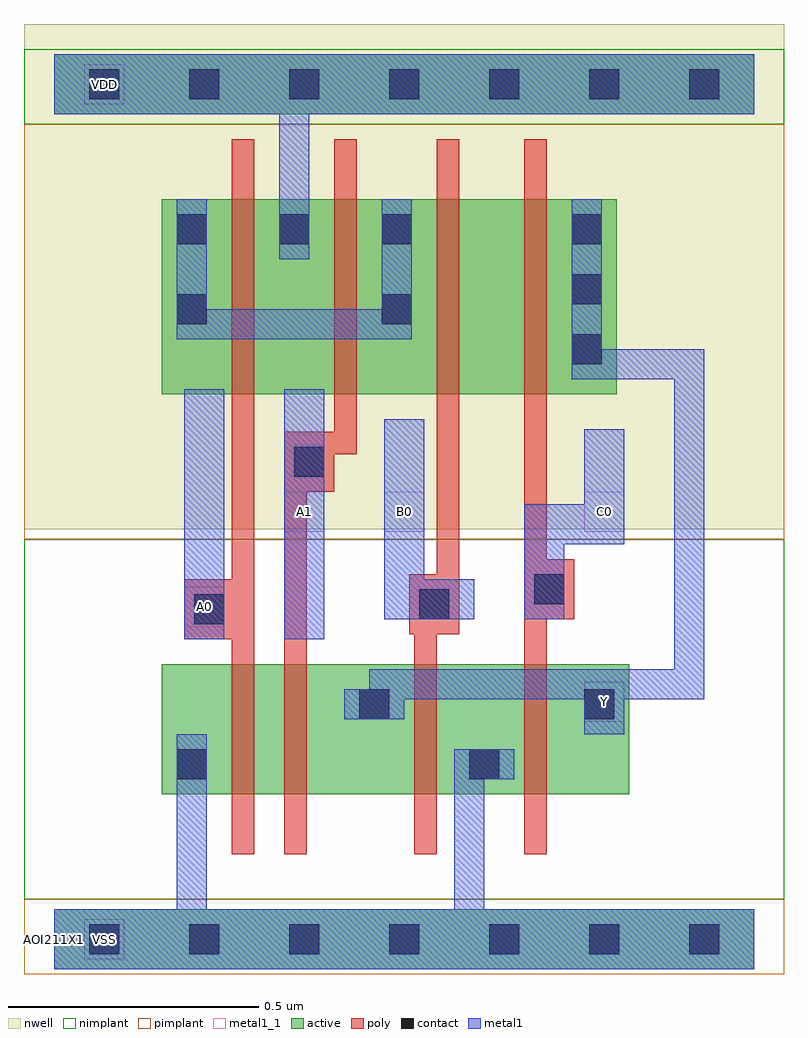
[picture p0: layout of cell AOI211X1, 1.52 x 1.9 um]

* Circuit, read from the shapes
.subckt AOI211X1 A0 A1 B0 C0 VDD VSS Y
M1 n1 A0 VSS VSS nfet w=0.26u l=0.045u
M2 Y A1 n1 VSS nfet w=0.26u l=0.045u
M3 VSS B0 Y VSS nfet w=0.26u l=0.045u
M4 Y C0 VSS VSS nfet w=0.26u l=0.045u
M5 VDD A0 n2 VDD pfet w=0.39u l=0.045u
M6 n2 A1 VDD VDD pfet w=0.39u l=0.045u
M7 n3 B0 n2 VDD pfet w=0.39u l=0.045u
M8 Y C0 n3 VDD pfet w=0.39u l=0.045u
.ends

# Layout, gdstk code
import gdstk
lib = gdstk.Library(unit=1e-6, precision=5e-10)
def R(c, l, rs):  # rectangles x0, y0, x1, y1
    for r in rs: c.add(gdstk.rectangle(r[:2], r[2:], *l))
def A(c, l, x, y, w, h, nx, ny, dx, dy):  # array of equal rectangles
    R(c, l, [(x+i*dx, y+j*dy, x+i*dx+w, y+j*dy+h) for i in range(nx) for j in range(ny)])
def P(c, l, *ps):  # polygons
    for p in ps: c.add(gdstk.Polygon(p, *l))
active = (1, 0)
nwell = (2, 0)
poly = (3, 0)
nimplant = (4, 0)
pimplant = (5, 0)
contact = (6, 0)
metal1 = (7, 0)
metal1_1 = (7, 1)

aoi211x1 = lib.new_cell('AOI211X1')
R(aoi211x1, active, [(0,-0.06,1.4,0.06), (0.215,0.29,1.15,0.55), (0.215,1.09,1.125,1.48), (0,1.65,1.4,1.77)])
R(aoi211x1, nwell, [(-0.06,0.82,1.46,1.83)])
P(aoi211x1, poly, [(0.355,1.6),(0.4,1.6),(0.4,0.17),(0.355,0.17),(0.355,0.6),(0.26,0.6),(0.26,0.72),(0.355,0.72)],
  [(0.56,1.6),(0.605,1.6),(0.605,0.97),(0.56,0.97),(0.56,0.895),(0.505,0.895),(0.505,0.17),(0.46,0.17),(0.46,1.015),(0.56,1.015)],
  [(0.765,1.6),(0.81,1.6),(0.81,0.61),(0.765,0.61),(0.765,0.17),(0.72,0.17),(0.72,0.61),(0.71,0.61),(0.71,0.73),(0.765,0.73)],
  [(0.94,1.6),(0.985,1.6),(0.985,0.76),(1.04,0.76),(1.04,0.64),(0.985,0.64),(0.985,0.17),(0.94,0.17)])
R(aoi211x1, nimplant, [(-0.06,0.08,1.46,0.8), (-0.06,1.63,1.46,1.78)])
R(aoi211x1, pimplant, [(-0.06,-0.07,1.46,0.08), (-0.06,0.8,1.46,1.63)])
A(aoi211x1, contact, 0.07, -0.03, 0.06, 0.06, 7, 2, 0.2, 1.71)
A(aoi211x1, contact, 1.035, 1.15, 0.06, 0.06, 1, 3, 0, 0.12)
A(aoi211x1, contact, 0.245, 1.39, 0.06, 0.06, 3, 1, 0.205, 0)
R(aoi211x1, contact, [(0.245,0.32,0.305,0.38), (0.83,0.32,0.89,0.38), (0.61,0.44,0.67,0.5), (1.06,0.44,1.12,0.5), (0.28,0.63,0.34,0.69), (0.73,0.64,0.79,0.7), (0.96,0.67,1.02,0.73), (0.48,0.925,0.54,0.985), (0.245,1.23,0.305,1.29), (0.655,1.23,0.715,1.29)])
R(aoi211x1, metal1, [(0.26,0.6,0.34,1.1), (0.46,0.6,0.54,1.1)])
P(aoi211x1, metal1, [(0,1.77),(1.4,1.77),(1.4,1.65),(0.51,1.65),(0.51,1.36),(0.45,1.36),(0.45,1.65),(0,1.65)],
  [(0.245,1.48),(0.305,1.48),(0.305,1.26),(0.655,1.26),(0.655,1.48),(0.715,1.48),(0.715,1.2),(0.245,1.2)],
  [(1.035,1.48),(1.095,1.48),(1.095,1.18),(1.3,1.18),(1.3,0.48),(1.14,0.48),(1.14,0.41),(1.06,0.41),(1.06,0.48),(0.7,0.48),(0.7,0.44),(0.58,0.44),(0.58,0.5),(0.63,0.5),(0.63,0.54),(1.24,0.54),(1.24,1.12),(1.035,1.12)],
  [(0.66,1.04),(0.74,1.04),(0.74,0.72),(0.84,0.72),(0.84,0.64),(0.66,0.64)],
  [(1.06,1.02),(1.14,1.02),(1.14,0.79),(1.02,0.79),(1.02,0.64),(0.94,0.64),(0.94,0.87),(1.06,0.87)],
  [(0.245,0.41),(0.305,0.41),(0.305,0.06),(0.8,0.06),(0.8,0.38),(0.92,0.38),(0.92,0.32),(0.86,0.32),(0.86,0.06),(1.4,0.06),(1.4,-0.06),(0,-0.06),(0,0.06),(0.245,0.06)])
R(aoi211x1, metal1_1, [(0.06,-0.04,0.14,0.04), (1.06,0.435,1.14,0.515), (0.26,0.625,0.34,0.705), (0.46,0.815,0.54,0.895), (0.66,0.815,0.74,0.895), (1.06,0.815,1.14,0.895), (0.06,1.67,0.14,1.75)])
aoi211x1.add(gdstk.Label('Y', (1.1,0.475), layer=7, texttype=1))
aoi211x1.add(gdstk.Label('A0', (0.3,0.665), layer=7, texttype=1))
aoi211x1.add(gdstk.Label('A1', (0.5,0.855), layer=7, texttype=1))
aoi211x1.add(gdstk.Label('B0', (0.7,0.855), layer=7, texttype=1))
aoi211x1.add(gdstk.Label('C0', (1.1,0.855), layer=7, texttype=1))
aoi211x1.add(gdstk.Label('VDD', (0.1,1.71), layer=7, texttype=1))
aoi211x1.add(gdstk.Label('VSS', (0.1,0), layer=7, texttype=1))
aoi211x1.add(gdstk.Label('AOI211X1', (0,0), layer=63, texttype=0))

lib.write_gds('AOI211X1.gds')
